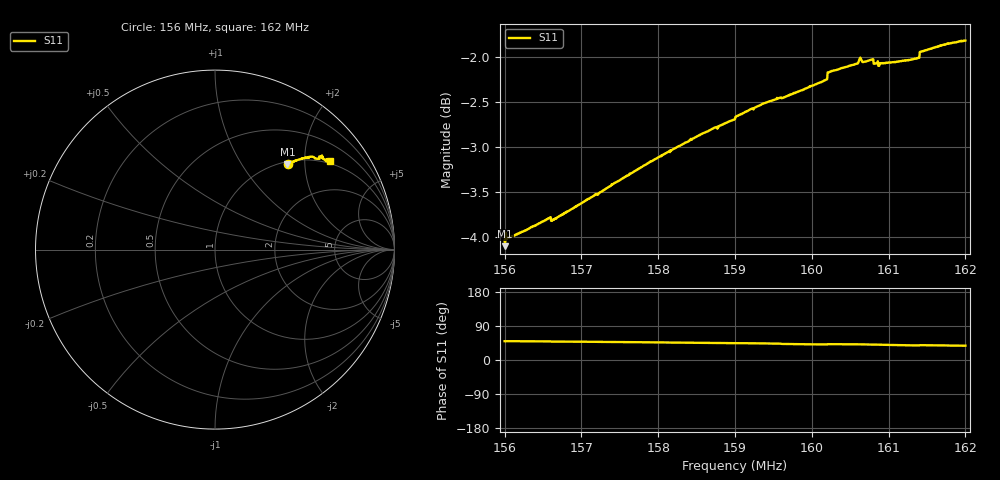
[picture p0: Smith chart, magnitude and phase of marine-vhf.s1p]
! Calibrated averaged scanner-service zoom
# Hz S RI R 50
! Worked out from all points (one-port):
!   1001 points, 156 MHz to 162 MHz, reference 50 ohm
!   lowest |S11| = -4.1 dB at 156.01 MHz (marker M1), VSWR 4.32, Z = 52.5 + j81.8 ohm
!   |S11| at or under -10 dB: nowhere
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1.56e8  0.4073 0.4784
1.56006e8  0.4038 0.4756
1.5657e8  0.4234 0.4886
1.56636e8  0.4265 0.4842
1.5675e8  0.4305 0.4862
1.57116e8  0.4434 0.4938
1.575e8  0.4597 0.4993
1.5825e8  0.4928 0.5086
1.5897e8  0.5232 0.513
1.59e8  0.5242 0.5133
1.59036e8  0.5254 0.5169
1.59198e8  0.5327 0.5178
1.59498e8  0.546 0.5169
1.5957e8  0.5493 0.5158
1.59636e8  0.5575 0.508
1.5975e8  0.5631 0.507
1.6017e8  0.5816 0.5061
1.60236e8  0.5817 0.5187
1.605e8  0.5901 0.5184
1.60572e8  0.5924 0.5183
1.60632e8  0.596 0.5242
1.60686e8  0.5956 0.5183
1.6077e8  0.5981 0.5183
1.6086e8  0.5998 0.5142
1.6125e8  0.6172 0.4946
1.6137e8  0.6221 0.4917
1.61436e8  0.6215 0.504
1.62e8  0.6418 0.496
